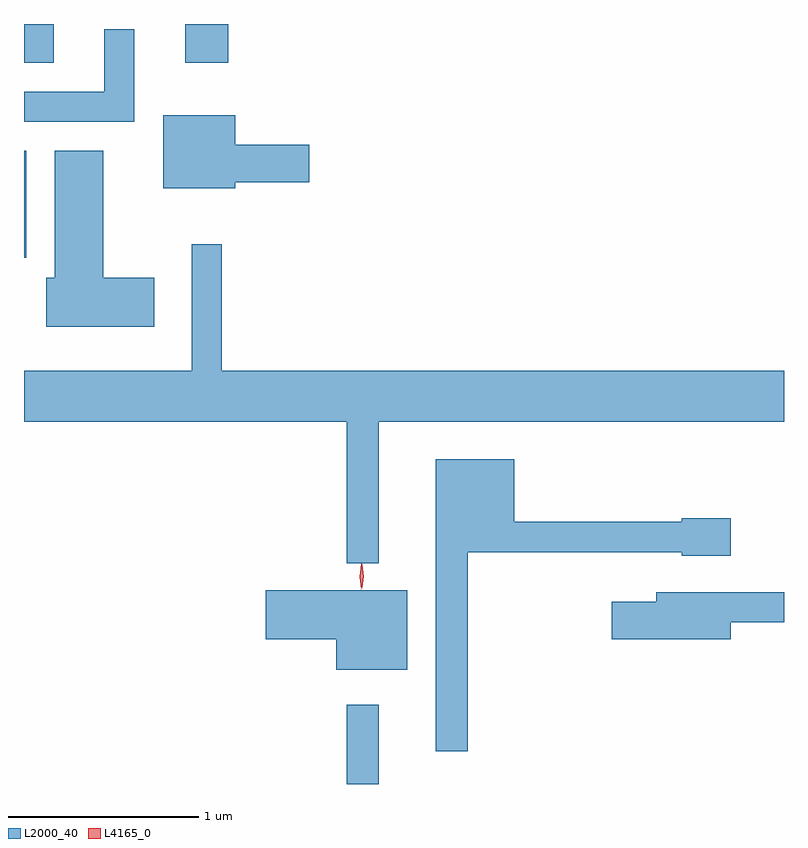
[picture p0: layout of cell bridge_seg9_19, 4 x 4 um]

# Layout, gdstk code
import gdstk
lib = gdstk.Library(unit=1e-6, precision=1e-09)
def R(c, l, rs):  # rectangles x0, y0, x1, y1
    for r in rs: c.add(gdstk.rectangle(r[:2], r[2:], *l))
def P(c, l, *ps):  # polygons
    for p in ps: c.add(gdstk.Polygon(p, *l))
L2000_40 = (2000, 40)
L4165_0 = (4165, 0)

bridge_seg9_19 = lib.new_cell('bridge_seg9_19')
R(bridge_seg9_19, L2000_40, [(1580.651,2067.61,1580.819,2068.028), (1578.953,2070.381,1578.964,2070.944), (1578.953,2071.406,1579.109,2071.61), (1579.801,2071.406,1580.029,2071.61)])
P(bridge_seg9_19, L2000_40, [(1579.534,2071.583),(1579.376,2071.583),(1579.376,2071.254),(1578.953,2071.254),(1578.953,2071.096),(1579.534,2071.096)],
  [(1580.064,2070.776),(1580.454,2070.776),(1580.454,2070.974),(1580.064,2070.974),(1580.064,2071.129),(1579.686,2071.129),(1579.686,2070.746),(1580.064,2070.746)],
  [(1579.639,2070.274),(1579.369,2070.274),(1579.369,2070.944),(1579.116,2070.944),(1579.116,2070.274),(1579.071,2070.274),(1579.071,2070.016),(1579.639,2070.016)],
  [(1580.819,2069.516),(1582.953,2069.516),(1582.953,2069.784),(1579.994,2069.784),(1579.994,2070.452),(1579.836,2070.452),(1579.836,2069.784),(1578.953,2069.784),(1578.953,2069.516),(1580.651,2069.516),(1580.651,2068.773),(1580.819,2068.773)],
  [(1581.289,2068.831),(1582.416,2068.831),(1582.416,2068.811),(1582.674,2068.811),(1582.674,2069.009),(1582.416,2069.009),(1582.416,2068.989),(1581.534,2068.989),(1581.534,2069.319),(1581.121,2069.319),(1581.121,2067.783),(1581.289,2067.783)],
  [(1580.969,2068.629),(1580.226,2068.629),(1580.226,2068.371),(1580.596,2068.371),(1580.596,2068.211),(1580.969,2068.211)],
  [(1582.674,2068.461),(1582.953,2068.461),(1582.953,2068.619),(1582.281,2068.619),(1582.281,2068.569),(1582.046,2068.569),(1582.046,2068.371),(1582.674,2068.371)])
P(bridge_seg9_19, L4165_0, [(1580.732,2068.64),(1580.732,2068.64),(1580.722,2068.703),(1580.732,2068.766),(1580.732,2068.767),(1580.733,2068.766),(1580.742,2068.703),(1580.733,2068.64)],
  [(1580.727,2068.634),(1580.719,2068.702),(1580.729,2068.77),(1580.73,2068.77),(1580.73,2068.77),(1580.739,2068.702),(1580.728,2068.634),(1580.728,2068.634)])

lib.write_gds('bridge_seg9_19.gds')
